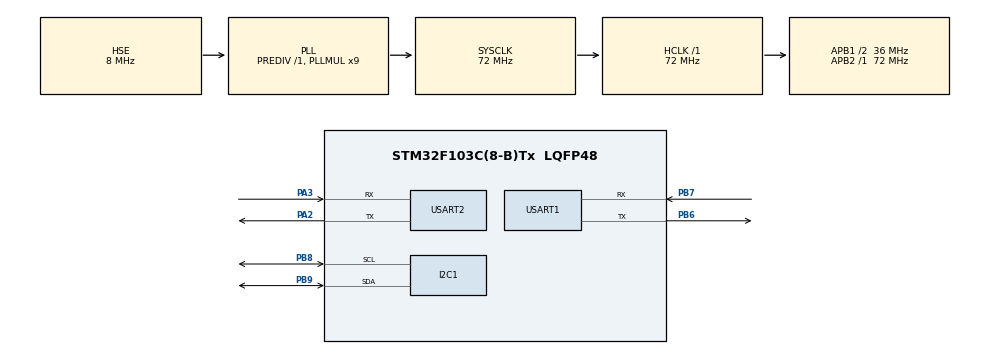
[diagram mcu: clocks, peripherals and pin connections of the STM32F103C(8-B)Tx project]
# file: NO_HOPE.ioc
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I2C1.I2C_Mode=I2C_Fast
Mcu.Family=STM32F1
Mcu.Name=STM32F103C(8-B)Tx
Mcu.Package=LQFP48
NVIC.PriorityGroup=NVIC_PRIORITYGROUP_4
NVIC.USART1_IRQn=true\:0\:0\:false\:false\:true\:true\:true\:true
PA13.Mode=Serial_Wire
PA13.Signal=SYS_JTMS-SWDIO
PA14.Mode=Serial_Wire
PA14.Signal=SYS_JTCK-SWCLK
PA2.Mode=Asynchronous
PA2.Signal=USART2_TX
PA3.Mode=Asynchronous
PA3.Signal=USART2_RX
PB6.Mode=Asynchronous
PB6.Signal=USART1_TX
PB7.Mode=Asynchronous
PB7.Signal=USART1_RX
PB8.Mode=I2C
PB8.Signal=I2C1_SCL
PB9.Mode=I2C
PB9.Signal=I2C1_SDA
PD0-OSC_IN.Mode=HSE-External-Oscillator
PD0-OSC_IN.Signal=RCC_OSC_IN
PD1-OSC_OUT.Mode=HSE-External-Oscillator
PD1-OSC_OUT.Signal=RCC_OSC_OUT
ProjectManager.HeapSize=0x200
ProjectManager.StackSize=0x400
ProjectManager.TargetToolchain=STM32CubeIDE
RCC.AHBFreq_Value=72000000
RCC.APB1CLKDivider=RCC_HCLK_DIV2
RCC.APB1Freq_Value=36000000
RCC.APB1TimFreq_Value=72000000
RCC.APB2Freq_Value=72000000
RCC.APB2TimFreq_Value=72000000
RCC.HCLKFreq_Value=72000000
RCC.PLLMUL=RCC_PLL_MUL9
RCC.PLLSourceVirtual=RCC_PLLSOURCE_HSE
RCC.SYSCLKFreq_VALUE=72000000
RCC.SYSCLKSource=RCC_SYSCLKSOURCE_PLLCLK
RCC.USBFreq_Value=72000000
USART1.VirtualMode=VM_ASYNC
USART2.VirtualMode=VM_ASYNC
board=custom

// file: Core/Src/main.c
/* USER CODE BEGIN Header */
/**
  ******************************************************************************
  * @file           : main.c
  * @brief          : Main program body
  ******************************************************************************
  * @attention
  *
  * Copyright (c) 2024 STMicroelectronics.
  * All rights reserved.
  *
  * This software is licensed under terms that can be found in the LICENSE file
  * in the root directory of this software component.
  * If no LICENSE file comes with this software, it is provided AS-IS.
  *
  ******************************************************************************
  */
/* USER CODE END Header */
#include "main.h"

/* USER CODE BEGIN Includes */
#include "uartRingBuffer.h"
#include "NMEAbackup.h"
#include "i2c-lcd.h"
#include "stdio.h"
#include "string.h"
#include "fonts.h"
#include "ssd1306.h"
/* USER CODE END Includes */

I2C_HandleTypeDef hi2c1;

UART_HandleTypeDef huart1;
UART_HandleTypeDef huart2;

/* USER CODE BEGIN PV */
char GGA[100];
char RMC[100];

GPSSTRUCT gpsData;
uint8_t signalAccurate = 0;
uint8_t flagGGA = 0, flagRMC = 0;
char lcdBuffer [50];
char longitude[14] = {0};
char latitude[15] = {0};
uint8_t time = 0;

uint8_t VCCTimeout = 5000;
/* USER CODE END PV */

void SystemClock_Config(void);
static void MX_GPIO_Init(void);
static void MX_USART1_UART_Init(void);
static void MX_I2C1_Init(void);
static void MX_USART2_UART_Init(void);

/* USER CODE BEGIN 0 */

void sendRequestToEsp32(UART_HandleTypeDef *huart, char deviceId[], char longitudeVal[], char latitudeVal[], uint8_t accuracyVal) {
	char requestBody[150] = { 0 };
	char accuracyToChar = accuracyVal + '0';
	if (longitudeVal[0] != 0 && latitudeVal[0] != 0 && accuracyVal > 0) {
		sprintf(requestBody,
				"{\"deviceId\": \"%s\", \"longitude\": \"%s\", \"latitude\": \"%s\", \"accuracy\": %d}",
				deviceId, longitudeVal, latitudeVal, accuracyVal);
	}
	HAL_UART_Transmit(huart, requestBody, 150, 100);
}

/* USER CODE END 0 */

int main(void)
{

  /* MCU Configuration--------------------------------------------------------*/

  /* Reset of all peripherals, Initializes the Flash interface and the Systick. */
  HAL_Init();

  /* Configure the system clock */
  SystemClock_Config();

  /* Initialize all configured peripherals */
  MX_GPIO_Init();
  MX_USART1_UART_Init();
  MX_I2C1_Init();
  MX_USART2_UART_Init();
  /* USER CODE BEGIN 2 */
    lcd_init();

    Ringbuf_init();
    HAL_Delay (500);

    	SSD1306_Init();
    	char snum[5];

       SSD1306_GotoXY (0,0);
       SSD1306_Puts ("test", &Font_11x18, 1);
       SSD1306_GotoXY (0,15);
       SSD1306_Puts ("GPS MODULE", &Font_11x18, 1);
       SSD1306_UpdateScreen();
       HAL_Delay (1000);

       SSD1306_ScrollRight(0,7);
       HAL_Delay(3000);
       SSD1306_ScrollLeft(0,7);
       HAL_Delay(3000);
       SSD1306_Stopscroll();
       SSD1306_Clear();
       SSD1306_GotoXY (35,0);
       SSD1306_Puts ("INF", &Font_7x10, 1);
  /* USER CODE END 2 */

  /* Infinite loop */
  while (1)
  {

    /* USER CODE BEGIN 3 */

	  if (Wait_for("GGA") == 1)
	  {

		  //VCCTimeout = 5000;  // Reset the VCC Timeout indicating the GGA is being received

		  Copy_upto("*", GGA);
		  decodeGGA(GGA, &gpsData.ggastruct);
		  signalAccurate = accurateSignal(&gpsData.ggastruct);

		  sprintf(longitude,"%4.4f",gpsData.ggastruct.lcation.longitude);
		  sprintf(latitude,"%f",gpsData.ggastruct.lcation.latitude);
		  sendRequestToEsp32(&huart2, "test",longitude, latitude, signalAccurate);

		  //if (decodeGGA(GGA, &gpsData.ggastruct) == 0) flagGGA = 2;  // 2 indicates the data is valid
		  //else flagGGA = 1;  // 1 indicates the data is invalid
		  	 SSD1306_GotoXY (0,0);
		     SSD1306_Puts (longitude, &Font_7x10, 1);
		     SSD1306_GotoXY (0,10);
		     SSD1306_Puts (latitude, &Font_7x10, 1);
		     SSD1306_UpdateScreen();
	  }

	  if (Wait_for("RMC") == 1)
	  {

		  //VCCTimeout = 5000;  // Reset the VCC Timeout indicating the RMC is being received

//		  Copy_upto("*", RMC);
//		  decodeRMC(RMC, &gpsData.rmcstruct) ;
		  //if (decodeRMC(RMC, &gpsData.rmcstruct) == 0) flagRMC = 2;  // 2 indicates the data is valid
		  //else flagRMC = 1;  // 1 indicates the data is invalid
	  }

//	  if ((flagGGA == 2) | (flagRMC == 2))
//	  {
//		  lcd_put_cur(0, 0);
//		  sprintf (lcdBuffer, "%02d:%02d:%02d, %02d%02d%02d", gpsData.ggastruct.tim.hour, \
//				  gpsData.ggastruct.tim.min, gpsData.ggastruct.tim.sec, gpsData.rmcstruct.date.Day, \
//				  gpsData.rmcstruct.date.Mon, gpsData.rmcstruct.date.Yr);
//		  lcd_send_string(lcdBuffer);
//		  memset(lcdBuffer, '\0', 50);
//		  lcd_put_cur(1, 0);
//		  sprintf (lcdBuffer, "%.2f%c, %.2f%c  ", gpsData.ggastruct.lcation.latitude, gpsData.ggastruct.lcation.NS,\
//				  gpsData.ggastruct.lcation.longitude, gpsData.ggastruct.lcation.EW);
//		  lcd_send_string(lcdBuffer);
//	  }
//
//	  else if ((flagGGA == 1) | (flagRMC == 1))
//	  {
//		  // Instead of clearing the display, it's better if we print spaces.
//		  // This will avoid the "refreshing" part
//		  lcd_put_cur(0, 0);
//		  lcd_send_string("   NO FIX YET   ");
//		  lcd_put_cur(1, 0);
//		  lcd_send_string("   Please wait  ");
//	  }
//
//	  if (VCCTimeout <= 0)
//	  {
//		  VCCTimeout = 5000;  // Reset the timeout
//
//		  //reset flags
//		  flagGGA =flagRMC =0;
//
//		  // You are here means the VCC is less, or maybe there is some connection issue
//		  // Check the VCC, also you can try connecting to the external 5V
//
//		  lcd_put_cur(0, 0);
//		  lcd_send_string("    VCC Issue   ");
//		  lcd_put_cur(1, 0);
//		  lcd_send_string("Check Connection");
//	  }
HAL_Delay(3000);
  }
  /* USER CODE END 3 */
}

void SystemClock_Config(void)
{
  RCC_OscInitTypeDef RCC_OscInitStruct = {0};
  RCC_ClkInitTypeDef RCC_ClkInitStruct = {0};

  /** Initializes the RCC Oscillators according to the specified parameters
  * in the RCC_OscInitTypeDef structure.
  */
  RCC_OscInitStruct.OscillatorType = RCC_OSCILLATORTYPE_HSE;
  RCC_OscInitStruct.HSEState = RCC_HSE_ON;
  RCC_OscInitStruct.HSEPredivValue = RCC_HSE_PREDIV_DIV1;
  RCC_OscInitStruct.HSIState = RCC_HSI_ON;
  RCC_OscInitStruct.PLL.PLLState = RCC_PLL_ON;
  RCC_OscInitStruct.PLL.PLLSource = RCC_PLLSOURCE_HSE;
  RCC_OscInitStruct.PLL.PLLMUL = RCC_PLL_MUL9;
  if (HAL_RCC_OscConfig(&RCC_OscInitStruct) != HAL_OK)
  {
    Error_Handler();
  }

  /** Initializes the CPU, AHB and APB buses clocks
  */
  RCC_ClkInitStruct.ClockType = RCC_CLOCKTYPE_HCLK|RCC_CLOCKTYPE_SYSCLK
                              |RCC_CLOCKTYPE_PCLK1|RCC_CLOCKTYPE_PCLK2;
  RCC_ClkInitStruct.SYSCLKSource = RCC_SYSCLKSOURCE_PLLCLK;
  RCC_ClkInitStruct.AHBCLKDivider = RCC_SYSCLK_DIV1;
  RCC_ClkInitStruct.APB1CLKDivider = RCC_HCLK_DIV2;
  RCC_ClkInitStruct.APB2CLKDivider = RCC_HCLK_DIV1;

  if (HAL_RCC_ClockConfig(&RCC_ClkInitStruct, FLASH_LATENCY_2) != HAL_OK)
  {
    Error_Handler();
  }
}

static void MX_I2C1_Init(void)
{

  hi2c1.Instance = I2C1;
  hi2c1.Init.ClockSpeed = 400000;
  hi2c1.Init.DutyCycle = I2C_DUTYCYCLE_2;
  hi2c1.Init.OwnAddress1 = 0;
  hi2c1.Init.AddressingMode = I2C_ADDRESSINGMODE_7BIT;
  hi2c1.Init.DualAddressMode = I2C_DUALADDRESS_DISABLE;
  hi2c1.Init.OwnAddress2 = 0;
  hi2c1.Init.GeneralCallMode = I2C_GENERALCALL_DISABLE;
  hi2c1.Init.NoStretchMode = I2C_NOSTRETCH_DISABLE;
  if (HAL_I2C_Init(&hi2c1) != HAL_OK)
  {
    Error_Handler();
  }

}

static void MX_USART1_UART_Init(void)
{

  huart1.Instance = USART1;
  huart1.Init.BaudRate = 115200;
  huart1.Init.WordLength = UART_WORDLENGTH_8B;
  huart1.Init.StopBits = UART_STOPBITS_1;
  huart1.Init.Parity = UART_PARITY_NONE;
  huart1.Init.Mode = UART_MODE_TX_RX;
  huart1.Init.HwFlowCtl = UART_HWCONTROL_NONE;
  huart1.Init.OverSampling = UART_OVERSAMPLING_16;
  if (HAL_UART_Init(&huart1) != HAL_OK)
  {
    Error_Handler();
  }

}

static void MX_USART2_UART_Init(void)
{

  huart2.Instance = USART2;
  huart2.Init.BaudRate = 115200;
  huart2.Init.WordLength = UART_WORDLENGTH_8B;
  huart2.Init.StopBits = UART_STOPBITS_1;
  huart2.Init.Parity = UART_PARITY_NONE;
  huart2.Init.Mode = UART_MODE_TX_RX;
  huart2.Init.HwFlowCtl = UART_HWCONTROL_NONE;
  huart2.Init.OverSampling = UART_OVERSAMPLING_16;
  if (HAL_UART_Init(&huart2) != HAL_OK)
  {
    Error_Handler();
  }

}

static void MX_GPIO_Init(void)
{

  /* GPIO Ports Clock Enable */
  __HAL_RCC_GPIOD_CLK_ENABLE();
  __HAL_RCC_GPIOA_CLK_ENABLE();
  __HAL_RCC_GPIOB_CLK_ENABLE();

}

void Error_Handler(void)
{
  __disable_irq();
  while (1)
  {
  }
}
